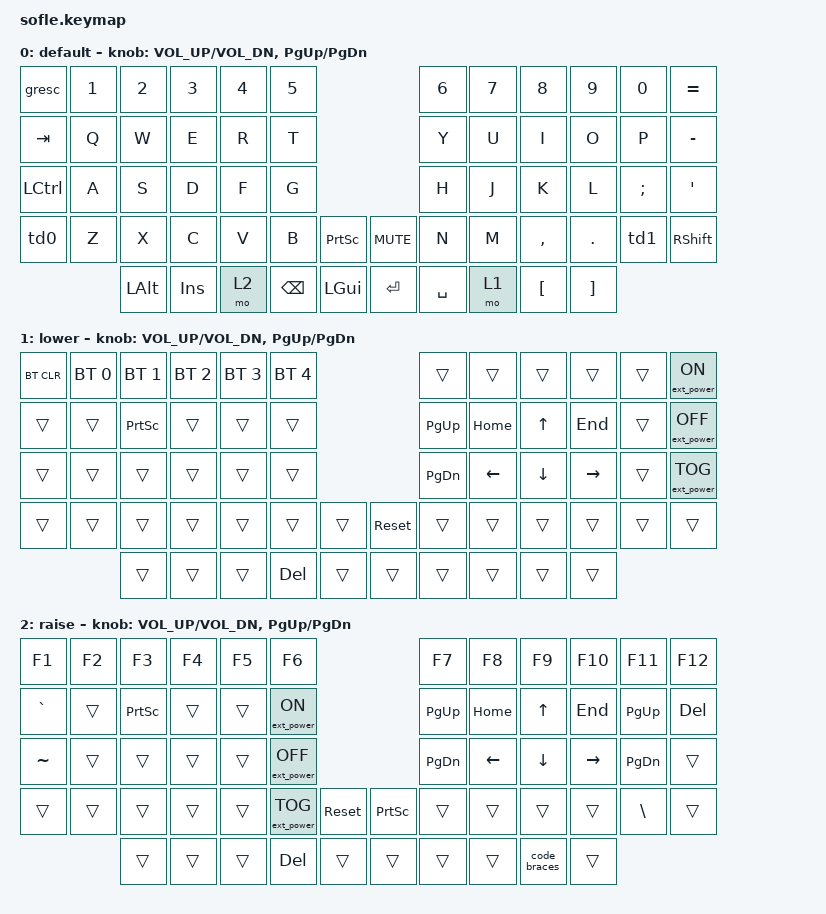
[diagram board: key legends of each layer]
/*
 * Copyright (c) 2020 The ZMK Contributors
 *
 * SPDX-License-Identifier: MIT
 */

#include <behaviors.dtsi>
#include <dt-bindings/zmk/keys.h>
#include <dt-bindings/zmk/bt.h>
// #include <dt-bindings/zmk/rgb.h>
#include <dt-bindings/zmk/ext_power.h>

#define BASE 0
#define LOWER 1
#define RAISE 2

// MACRO DEFINITIONS
/ {
    macros {
        code_braces: code_braces {
            label = "code_braces";
            compatible = "zmk,behavior-macro";
            #binding-cells = <0>;
            bindings
                = <&macro_tap &kp LEFT_BRACE>
                , <&macro_tap &kp RETURN>
                , <&macro_tap &kp TAB>
                , <&macro_tap &kp RETURN>
                , <&macro_tap &kp RIGHT_BRACE>
                , <&macro_tap &kp UP>
                ;
        };
    };
};

// Mod-Morph Definitions
/ {
    behaviors {
        gresc: grave_escape {
            compatible = "zmk,behavior-mod-morph";
            label = "GRAVE_ESCAPE";
            #binding-cells = <0>;
            bindings = <&kp ESC>, <&kp GRAVE>;
            mods = <(LSHIFT|RSHIFT)>;
        };
    };
};

// Tap-Dance Definitions
/ {
    behaviors {
        td0: tap_dance_0 {
            compatible = "zmk,behavior-tap-dance";
            label = "TAP_DANCE_0";
            #binding-cells = <0>;
            tapping-term-ms = <200>;
            bindings = <&kp LSHIFT>, <&caps_word>;
        };
    };

behaviors {
        td1: tap_dance_1 {
            compatible = "zmk,behavior-tap-dance";
            label = "TAP_DANCE_1";
            #binding-cells = <0>;
            tapping-term-ms = <150>;
            bindings = <&kp FSLH>, <&kp BACKSLASH>;
        };
    };

    keymap {
        compatible = "zmk,keymap";

        default_layer {
            display-name = "default";
// ------------------------------------------------------------------------------------------------------------
// |  `    |  1  |  2  |  3   |  4   |  5   |                   |  6   |  7    |  8    |  9   |   0   |       |
// |  ESC  |  Q  |  W  |  E   |  R   |  T   |                   |  Y   |  U    |  I    |  O   |   P   | BKSPC |
// |  TAB  |  A  |  S  |  D   |  F   |  G   |                   |  H   |  J    |  K    |  L   |   ;   |   '   |
// | SHIFT |  Z  |  X  |  C   |  V   |  B   |  MUTE  |  |       |  N   |  M    |  ,    |  .   |   /   | SHIFT |
//               | GUI | ALT  | CTRL | LOWER|  ENTER |  | SPACE | RAISE| CTRL  | ALT   | GUI  |
            bindings = <
&gresc      &kp N1      &kp N2      &kp N3      &kp N4      &kp N5                                    &kp N6      &kp N7      &kp N8      &kp N9      &kp N0      &kp EQUAL
&kp TAB     &kp Q       &kp W       &kp E       &kp R       &kp T                                     &kp Y       &kp U       &kp I       &kp O       &kp P       &kp MINUS
&kp LCTRL   &kp A       &kp S       &kp D       &kp F       &kp G                                     &kp H       &kp J       &kp K       &kp L       &kp SEMI    &kp SQT
&td0        &kp Z       &kp X       &kp C       &kp V       &kp B        &kp PSCRN      &kp C_MUTE    &kp N       &kp M       &kp COMMA   &kp DOT     &td1        &kp RSHFT
                        &kp LALT    &kp INSERT  &mo 2   &kp BACKSPACE    &kp LGUI       &kp RETURN    &kp SPACE   &mo 1       &kp LBKT    &kp RBKT
            >;

            sensor-bindings = <&inc_dec_kp C_VOL_UP C_VOL_DN &inc_dec_kp PG_UP PG_DN>;
        };

        lower_layer {
            display-name = "lower";
// TODO: Some binds are waiting for shifted keycode support.
// ------------------------------------------------------------------------------------------------------------
// |BTCLR| BT1  | BT2  |  BT3  |  BT4  |  BT5 |                |      |      |       |      |       |       |
// |     | INS  | PSCR | GUI   |       |      |                | PGUP |      |   ^   |      |       |       |
// |     | ALT  | CTRL | SHIFT |       | CAPS |                | PGDN |   <- |   v   |  ->  |  DEL  | BKSPC |
// |     | UNDO | CUT  | COPY  | PASTE |      |      |  |      |      |      |       |      |       |       |
//              |      |       |       |      |      |  |      |      |      |       |      |
            bindings = <
&bt BT_CLR    &bt BT_SEL 0    &bt BT_SEL 1    &bt BT_SEL 2    &bt BT_SEL 3    &bt BT_SEL 4                               &trans    &trans    &trans    &trans    &trans    &ext_power EP_ON
&trans        &trans          &kp PSCRN       &trans          &trans          &trans                                     &kp PG_UP &kp HOME  &kp UP    &kp END   &trans    &ext_power EP_OFF
&trans        &trans          &trans          &trans          &trans          &trans                                     &kp PG_DN &kp LEFT  &kp DOWN  &kp RIGHT &trans    &ext_power EP_TOG
&trans        &trans          &trans          &trans          &trans          &trans          &trans       &sys_reset    &trans    &trans    &trans    &trans    &trans    &trans
                              &trans          &trans          &trans          &kp DELETE      &trans       &trans        &trans    &trans    &trans    &trans      
            >;

            sensor-bindings = <&inc_dec_kp C_VOL_UP C_VOL_DN &inc_dec_kp PG_UP PG_DN>;
        };

        raise_layer {
            display-name = "raise";
// TODO: Some binds are waiting for shifted keycode support.
// ------------------------------------------------------------------------------------------------------------
// |       |  F1 |  F2 |  F3  |  F4  |  F5  |                   |  F6  |  F7   |  F8   |  F9  |  F10  |  F11  |
// | `     |   1 |   2 |   3  |   4  |   5  |                   |   6  |   7   |   8   |   9  |    0  |  F12  |
// |       |  !  |  @  |  #   |  $   |  %   |                   |  ^   |  &    |  *    |  (   |   )   |   |   |
// |       |  =  |  -  |  +   |  {   |  }   |        |  |       |  [   |  ]    |  ;    |  :   |   \   |       |
//               |     |      |      |      |        |  |       |      |       |       |      |
            bindings = <
&kp F1      &kp F2      &kp F3      &kp F4      &kp F5      &kp F6                                      &kp F7      &kp F8      &kp F9      &kp F10     &kp F11           &kp F12
&kp GRAVE   &trans      &kp PSCRN   &trans      &trans      &ext_power EP_ON                                      &kp PG_UP   &kp HOME    &kp UP      &kp END     &kp PG_UP         &kp DELETE
&kp TILDE   &trans      &trans      &trans      &trans      &ext_power EP_OFF                                      &kp PG_DN   &kp LEFT    &kp DOWN    &kp RIGHT   &kp PG_DN         &trans
&trans      &trans      &trans      &trans      &trans      &ext_power EP_TOG      &sys_reset      &kp PRINTSCREEN &trans      &trans      &trans      &trans      &kp BACKSLASH     &trans
                        &trans      &trans      &trans      &kp DELETE  &trans          &trans          &trans      &trans      &code_braces &trans            
            >;

            sensor-bindings = <&inc_dec_kp C_VOL_UP C_VOL_DN &inc_dec_kp PG_UP PG_DN>;
        };
    };
};
